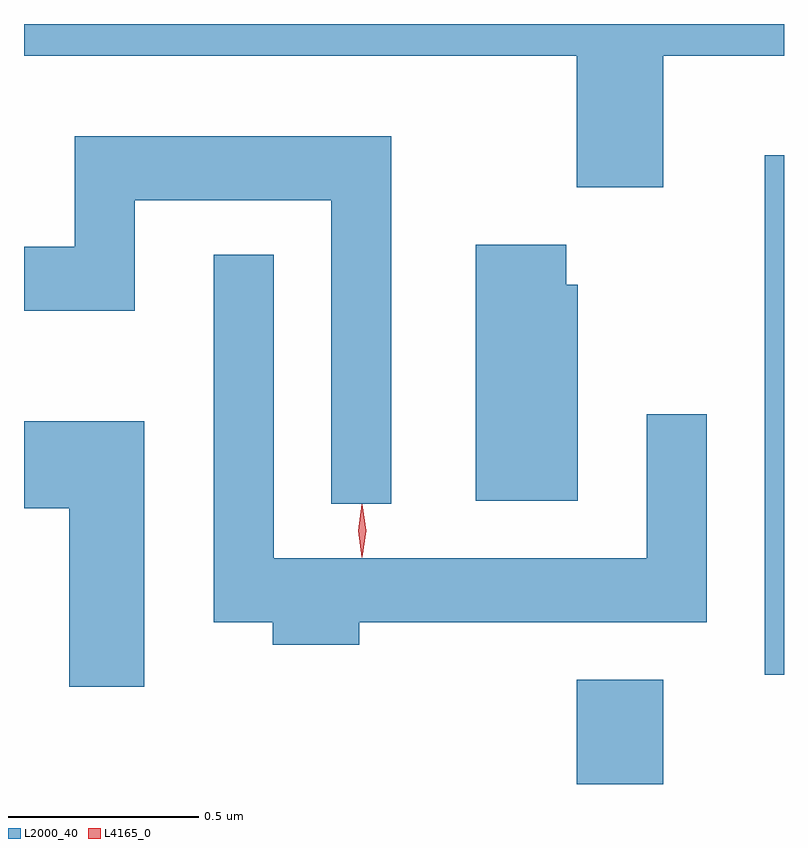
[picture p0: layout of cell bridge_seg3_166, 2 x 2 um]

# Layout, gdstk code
import gdstk
lib = gdstk.Library(unit=1e-6, precision=1e-09)
def R(c, l, rs):  # rectangles x0, y0, x1, y1
    for r in rs: c.add(gdstk.rectangle(r[:2], r[2:], *l))
def P(c, l, *ps):  # polygons
    for p in ps: c.add(gdstk.Polygon(p, *l))
L2000_40 = (2000, 40)
L4165_0 = (4165, 0)

bridge_seg3_166 = lib.new_cell('bridge_seg3_166')
R(bridge_seg3_166, L2000_40, [(898.541,1215.12,898.769,1215.394), (899.036,1215.408,899.087,1216.774)])
P(bridge_seg3_166, L2000_40, [(898.769,1217.036),(899.087,1217.036),(899.087,1217.12),(897.087,1217.12),(897.087,1217.036),(898.541,1217.036),(898.541,1216.691),(898.769,1216.691)],
  [(898.054,1216.824),(897.221,1216.824),(897.221,1216.534),(897.087,1216.534),(897.087,1216.366),(897.379,1216.366),(897.379,1216.656),(897.896,1216.656),(897.896,1215.858),(898.054,1215.858)],
  [(898.544,1216.434),(898.514,1216.434),(898.514,1216.539),(898.276,1216.539),(898.276,1215.866),(898.544,1215.866)],
  [(897.969,1215.546),(898.884,1215.546),(898.884,1216.093),(898.726,1216.093),(898.726,1215.714),(897.744,1215.714),(897.744,1216.513),(897.586,1216.513),(897.586,1215.546),(897.741,1215.546),(897.741,1215.486),(897.969,1215.486)],
  [(897.404,1216.074),(897.087,1216.074),(897.087,1215.846),(897.206,1215.846),(897.206,1215.376),(897.404,1215.376)])
P(bridge_seg3_166, L4165_0, [(897.977,1215.719),(897.976,1215.72),(897.967,1215.786),(897.976,1215.852),(897.976,1215.853),(897.977,1215.852),(897.986,1215.786),(897.977,1215.72)],
  [(897.976,1215.717),(897.967,1215.787),(897.976,1215.856),(897.977,1215.856),(897.977,1215.856),(897.987,1215.787),(897.977,1215.717),(897.977,1215.717)])

lib.write_gds('bridge_seg3_166.gds')
